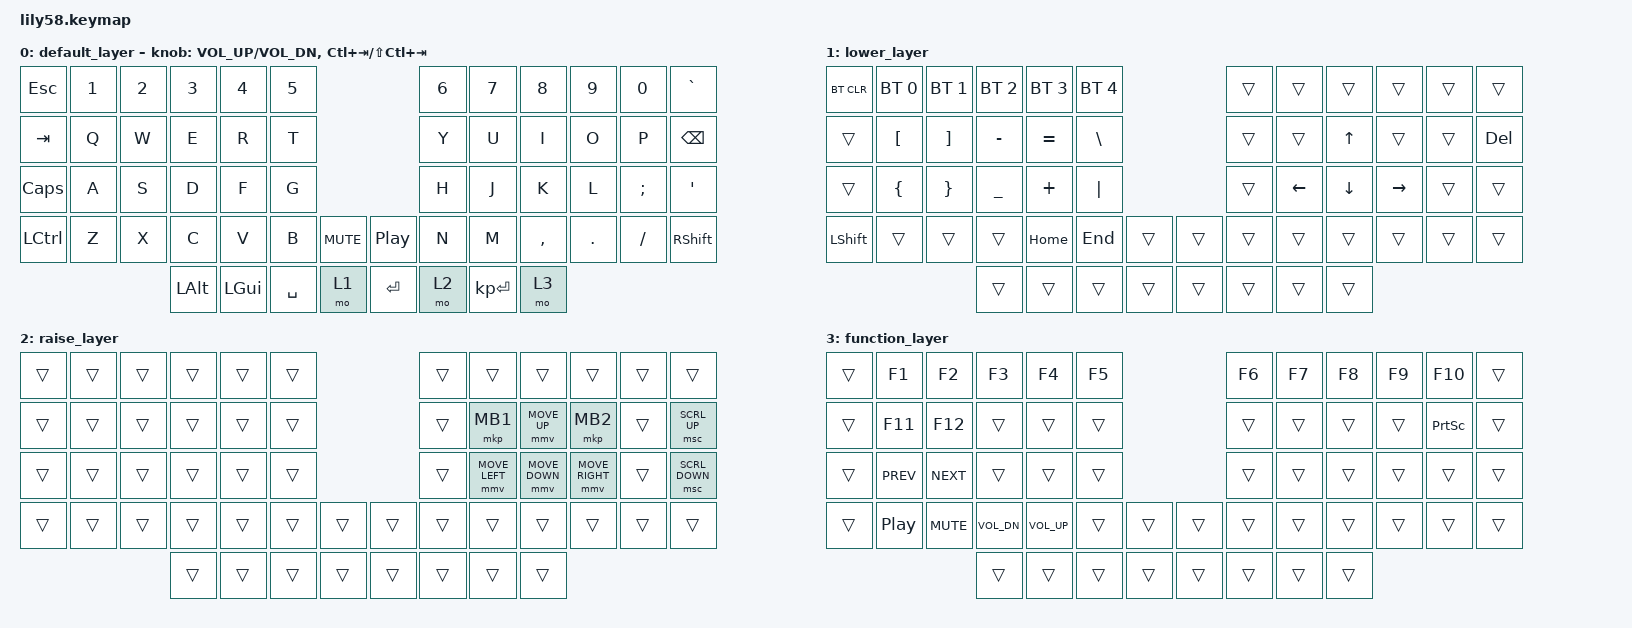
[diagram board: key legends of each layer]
/*
 * Copyright (c) 2020 The ZMK Contributors
 *
 * SPDX-License-Identifier: MIT
 */

#include <behaviors.dtsi>
#include <dt-bindings/zmk/keys.h>
#include <dt-bindings/zmk/bt.h>
#include <dt-bindings/zmk/ext_power.h>
#include <dt-bindings/zmk/pointing.h>

/ {
    keymap {
        compatible = "zmk,keymap";

        default_layer {
// -------------------------------------------------------------------------------------------------------------
// |  ESC  |  1  |  2  |   3   |   4   |   5   |                  |   6   |  7   |  8   |  9   |   0   |   `   |
// |  TAB  |  Q  |  W  |   E   |   R   |   T   |                  |   Y   |  U   |  I   |  O   |   P   |  BSPC |
// |  CAPS |  A  |  S  |   D   |   F   |   G   |                  |   H   |  J   |  K   |  L   |   ;   |   '   |
// |  CTRL |  Z  |  X  |   C   |   V   |   B   | MUTE  |  | PLAY  |   N   |  M   |  ,   |  .   |   /   | SHIFT |
//                     |  ALT  |  GUI  | SPACE | LOWER |  | RETURN| RAISE |ENTER|  FN  |
// -------------------------------------------------------------------------------------------------------------
            bindings = <
&kp ESC    &kp N1   &kp N2   &kp N3    &kp N4    &kp N5                         &kp N6   &kp N7   &kp N8     &kp N9    &kp N0    &kp GRAVE
&kp TAB    &kp Q    &kp W    &kp E     &kp R     &kp T                          &kp Y    &kp U    &kp I      &kp O     &kp P     &kp BSPC
&kp CAPS   &kp A    &kp S    &kp D     &kp F     &kp G                          &kp H    &kp J    &kp K      &kp L     &kp SEMI  &kp SQT
&kp LCTRL  &kp Z    &kp X    &kp C     &kp V     &kp B     &kp C_MUTE &kp C_PP  &kp N    &kp M    &kp COMMA  &kp DOT   &kp FSLH  &kp RSHFT
                          &kp LALT &kp LGUI  &kp SPACE &mo 1  &kp RET  &mo 2  &kp KP_ENTER &mo 3
            >;
             sensor-bindings =
                <&inc_dec_kp C_VOL_UP C_VOL_DN      &inc_dec_kp LC(TAB) LS(LC(TAB))>;
        };

        lower_layer {
// ------------------------------------------------------------------------------------------------------------------
// | BTCLR |  BT1  |  BT2  |  BT3  |  BT4  |  BT5  |                  |      |      |       |       |       |       |
// |       |    [  |   ]   |   -   |   =   |    \  |                  |      |      |   UP  |       |       |  DEL  |
// |       |   {   |   }   |   _   |   +   |   '|' |                  |      | LEFT |  DOWN | RIGHT |       |       |
// | SHIFT |       |       |       | Home  |  END  |       |  |       |      |      |       |       |       |       |
//                         |       |       |       |       |  |       |      |      |       |
// ------------------------------------------------------------------------------------------------------------------
            bindings = <
&bt BT_CLR     &bt BT_SEL 0  &bt BT_SEL 1  &bt BT_SEL 2  &bt BT_SEL 3  &bt BT_SEL 4                   &trans   &trans   &trans   &trans   &trans   &trans
&trans         &kp LBKT      &kp RBKT      &kp MINUS     &kp EQUAL     &kp BSLH                         &trans   &trans   &kp UP   &trans   &trans   &kp DEL
&trans         &kp LBRC      &kp RBRC      &kp UNDER     &kp PLUS      &kp PIPE                         &trans   &kp LEFT  &kp DOWN &kp RIGHT &trans   &trans
&kp LSHFT      &trans        &trans        &trans        &kp HOME      &kp END          &trans  &trans  &trans   &trans   &trans   &trans   &trans   &trans
                                &trans    &trans        &trans        &trans      &trans          &trans   &trans   &trans
            >;
        };

        raise_layer {
// ------------------------------------------------------------------------------------------------------------
// |      |      |      |      |      |      |                  |      |       |       |      |       |       |
// |      |      |      |      |      |      |                  |      |  MB1  |  M_UP |  MB2 |       |SCRL_UP|
// |      |      |      |      |      |      |                  |      | M_LEFT| M_DOWN|M_RIGHT|      |SCRL_DWN|
// |      |      |      |      |      |      |       |  |       |      |       |       |      |       |       |
//                      |      |      |      |       |  |       |      |       |       |
// -------------------------------------------------------------------------------------------------------------
            bindings = <
&trans   &trans   &trans   &trans   &trans   &trans                     &trans   &trans         &trans            &trans            &trans     &trans
&trans   &trans   &trans   &trans   &trans   &trans                     &trans   &mkp MB1       &mmv MOVE_UP      &mkp MB2          &trans     &msc SCRL_UP
&trans   &trans   &trans   &trans   &trans   &trans                     &trans   &mmv MOVE_LEFT &mmv MOVE_DOWN    &mmv MOVE_RIGHT   &trans     &msc SCRL_DOWN
&trans   &trans   &trans   &trans   &trans   &trans   &trans   &trans   &trans   &trans         &trans            &trans            &trans     &trans
                           &trans   &trans   &trans   &trans   &trans   &trans   &trans   &trans
            >;
        };

        function_layer {
// ------------------------------------------------------------------------------------------------------------
// |      |  F1  |  F2  |  F3  |  F4  |  F5  |                  |  F6   |  F7   |  F8  |  F9  |  F10  |       |
// |      |  F11 |  F12 |      |      |      |                  |       |       |      |      | PSCRN |       |
// |      | PREV | NEXT |      |      |      |                  |       |       |      |      |       |       |
// |      |      |      | VOL- | VOL+ |      |       |  |       |       |       |      |      |       |       |
//                      |      |      |      |       |  |       |       |       |      |
// -------------------------------------------------------------------------------------------------------------
            bindings = <
&trans   &kp F1      &kp F2      &kp F3        &kp F4        &kp F5                     &kp F6   &kp F7   &kp F8   &kp F9   &kp F10    &trans
&trans   &kp F11     &kp F12     &trans        &trans        &trans                     &trans   &trans   &trans   &trans   &kp PSCRN  &trans
&trans   &kp C_PREV  &kp C_NEXT  &trans        &trans        &trans                     &trans   &trans   &trans   &trans   &trans     &trans
&trans   &kp C_PP    &kp C_MUTE  &kp C_VOL_DN  &kp C_VOL_UP  &trans   &trans   &trans   &trans   &trans   &trans   &trans   &trans     &trans
                                 &trans        &trans        &trans   &trans   &trans   &trans   &trans   &trans
            >;
        };
    };
};
